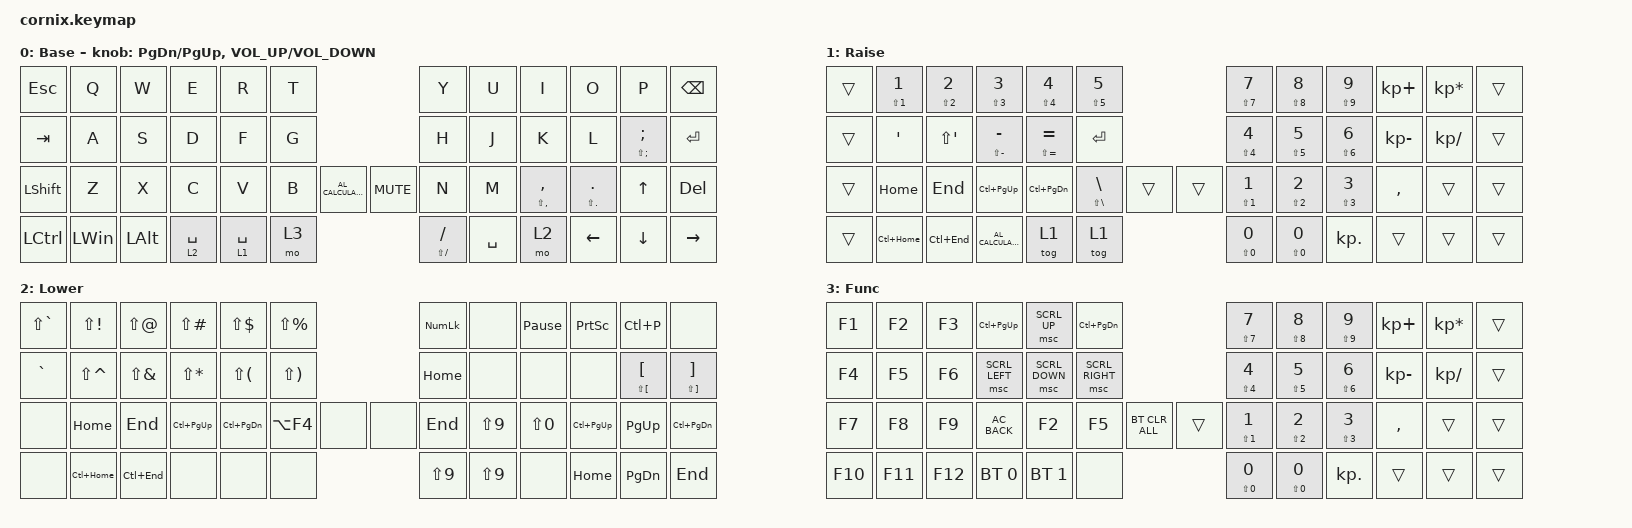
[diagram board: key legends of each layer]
/*
 * Copyright (c) 2020 The ZMK Contributors
 *
 * SPDX-License-Identifier: MIT
 */


#include "cornix54.h"
#include <behaviors.dtsi>
#include <dt-bindings/zmk/bt.h>
#include <dt-bindings/zmk/keys.h>
#include <dt-bindings/zmk/pointing.h>

&lt { tapping-term-ms = <100>; };

&mt { tapping-term-ms = <100>; };

/ {
    // Activate ADJUST layer by pressing raise and lower

    behaviors {
        auto_shift: auto_shift {
            compatible = "zmk,behavior-hold-tap";
            label = "Auto Shift ";
            bindings = <&kp>, <&kp>;

            #binding-cells = <2>;
            tapping-term-ms = <135>;
            flavor = "tap-preferred";
        };
    };

    conditional_layers { compatible = "zmk,conditional-layers"; };

    combos {
        compatible = "zmk,combos";

        backspace {
            bindings = <&kp BACKSPACE>;
            key-positions = <5 4>;
        };

        enter {
            bindings = <&kp ENTER>;
            key-positions = <16 17>;
        };

        delete {
            bindings = <&kp DELETE>;
            key-positions = <28 29>;
        };

        topad {
            bindings = <&tog 1>;
            key-positions = <45 46>;
        };

        macro0 {
            bindings = <&m0>;
            key-positions = <38 39>;
        };

        lock {
            bindings = <&kp LG(L)>;
            key-positions = <39 40>;
        };
       
    };

    macros {
        m0: m0 {
            compatible = "zmk,behavior-macro";
            #binding-cells = <0>;
            bindings = <&kp N1 &kp N2 &kp N1 &kp N2 &kp N1 &kp N2 &kp N3>;
            label = "M0";
        };
    };

    keymap {
        compatible = "zmk,keymap";

        Base {
            bindings = <
&kp ESC    &kp Q         &kp W     &kp E        &kp R        &kp T                                   &kp Y                        &kp U      &kp I                        &kp O                          &kp P                           &kp BSPC
&kp TAB    &kp A         &kp S     &kp D        &kp F        &kp G                                   &kp H                        &kp J      &kp K                        &kp L                          &auto_shift LS(SEMI) SEMICOLON  &kp RET
&kp LSHFT  &kp Z         &kp X     &kp C        &kp V        &kp B  &kp C_AL_CALCULATOR  &kp C_MUTE  &kp N                        &kp M      &auto_shift LS(COMMA) COMMA  &auto_shift LS(PERIOD) PERIOD  &kp UP                          &kp DEL
&kp LCTRL  &kp LEFT_WIN  &kp LALT  &lt 2 SPACE  &lt 1 SPACE  &mo 3                                   &auto_shift LS(SLASH) SLASH  &kp SPACE  &mo 2                        &kp LEFT                       &kp DOWN                        &kp RIGHT
            >;

            sensor-bindings =
                <&inc_dec_kp PG_DN PG_UP>,
                <&inc_dec_kp C_VOLUME_UP C_VOLUME_DOWN>;
        };

        Raise {
            bindings = <
&trans  &auto_shift LS(NUMBER_1) NUMBER_1  &auto_shift LS(NUMBER_2) NUMBER_2  &auto_shift LS(NUMBER_3) NUMBER_3  &auto_shift LS(NUMBER_4) NUMBER_4  &auto_shift LS(NUMBER_5) NUMBER_5                    &auto_shift LS(NUMBER_7) NUMBER_7  &auto_shift LS(NUMBER_8) NUMBER_8  &auto_shift LS(NUMBER_9) NUMBER_9  &kp KP_PLUS   &kp KP_ASTERISK  &trans
&trans  &kp SINGLE_QUOTE                   &kp LS(SINGLE_QUOTE)               &auto_shift LS(MINUS) MINUS        &auto_shift LS(EQUAL) EQUAL        &kp ENTER                                            &auto_shift LS(NUMBER_4) NUMBER_4  &auto_shift LS(NUMBER_5) NUMBER_5  &auto_shift LS(NUMBER_6) NUMBER_6  &kp KP_MINUS  &kp KP_DIVIDE    &trans
&trans  &kp HOME                           &kp END                            &kp LC(PG_UP)                      &kp LC(PG_DN)                      &auto_shift LS(BACKSLASH) BACKSLASH  &trans  &trans  &auto_shift LS(NUMBER_1) NUMBER_1  &auto_shift LS(NUMBER_2) NUMBER_2  &auto_shift LS(NUMBER_3) NUMBER_3  &kp COMMA     &trans           &trans
&trans  &kp LC(HOME)                       &kp LC(END)                        &kp C_AL_CALCULATOR                &tog 1                             &tog 1                                               &auto_shift LS(NUMBER_0) NUMBER_0  &auto_shift LS(NUMBER_0) NUMBER_0  &kp KP_DOT                         &trans        &trans           &trans
            >;
        };

        Lower {
            bindings = <
&kp LS(GRAVE)  &kp LS(EXCL)   &kp LS(AT)    &kp LS(POUND)  &kp LS(DLLR)   &kp LS(PRCNT)                &kp KP_NUMLOCK    &none             &kp PAUSE_BREAK   &kp PRINTSCREEN  &kp LC(P)                                  &none
&kp GRAVE      &kp LS(CARET)  &kp LS(AMPS)  &kp LS(STAR)   &kp LS(LPAR)   &kp LS(RPAR)                 &kp HOME          &none             &none             &none            &auto_shift LS(LEFT_BRACKET) LEFT_BRACKET  &auto_shift LS(RIGHT_BRACKET) RIGHT_BRACKET
&none          &kp HOME       &kp END       &kp LC(PG_UP)  &kp LC(PG_DN)  &kp LA(F4)     &none  &none  &kp END           &kp LS(NUMBER_9)  &kp LS(NUMBER_0)  &kp LC(PG_UP)    &kp PG_UP                                  &kp LC(PG_DN)
&none          &kp LC(HOME)   &kp LC(END)   &none          &none            &none                          &kp LS(NUMBER_9)  &kp LS(NUMBER_9)  &none             &kp HOME         &kp PG_DN                                  &kp END
            >;
        };

        Func {
            bindings = <
&kp F1   &kp F2   &kp F3   &kp LC(PG_UP)   &msc SCRL_UP    &kp LC(PG_DN)                            &auto_shift LS(NUMBER_7) NUMBER_7  &auto_shift LS(NUMBER_8) NUMBER_8  &auto_shift LS(NUMBER_9) NUMBER_9  &kp KP_PLUS   &kp KP_ASTERISK  &trans
&kp F4   &kp F5   &kp F6   &msc SCRL_LEFT  &msc SCRL_DOWN  &msc SCRL_RIGHT                          &auto_shift LS(NUMBER_4) NUMBER_4  &auto_shift LS(NUMBER_5) NUMBER_5  &auto_shift LS(NUMBER_6) NUMBER_6  &kp KP_MINUS  &kp KP_DIVIDE    &trans
&kp F7   &kp F8   &kp F9   &kp C_AC_BACK   &kp F2          &kp F5           &bt BT_CLR_ALL  &trans  &auto_shift LS(NUMBER_1) NUMBER_1  &auto_shift LS(NUMBER_2) NUMBER_2  &auto_shift LS(NUMBER_3) NUMBER_3  &kp COMMA     &trans           &trans
&kp F10  &kp F11  &kp F12  &bt BT_SEL 0    &bt BT_SEL 1    &none                                    &auto_shift LS(NUMBER_0) NUMBER_0  &auto_shift LS(NUMBER_0) NUMBER_0  &kp KP_DOT                         &trans        &trans           &trans
            >;
        };
    };
};
